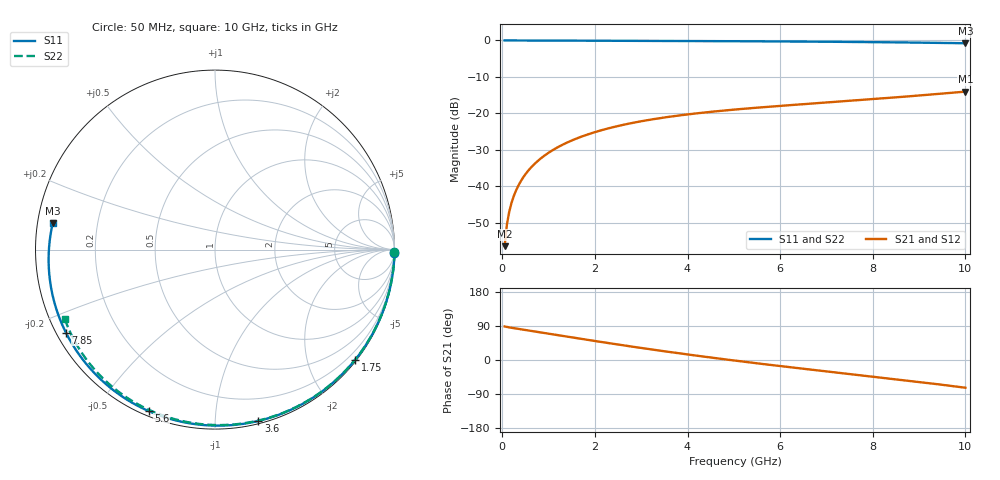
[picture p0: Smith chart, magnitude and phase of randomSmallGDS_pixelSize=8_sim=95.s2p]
! freq	dB(S11)	phase(S11)	dB(S12)	phase(S12)
!  dB(S21)	phase(S21)	dB(S22)	phase(S22)
!S-par simulation data
#  GHz  S  DB  R 50
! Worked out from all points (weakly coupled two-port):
!   200 points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, 50 MHz to 10 GHz, reference 50 ohm
!   highest |S21| = -14.02 dB at 10 GHz (marker M1); lowest = -56.4 dB at 50 MHz (marker M2)
!   lowest |S11| = -0.8 dB at 10 GHz (marker M3), VSWR 22.75, Z = 2.21 + j4.05 ohm
!   |S11| at or under -10 dB: nowhere
!   |S22| runs from -0.7 to 0.0 dB; largest |S21 - S12| = 0
!   S11 on the Smith chart (normalised r, x): 50 MHz: open; 1.75 GHz: 0.03, -2.88; 3.6 GHz: 0.02, -1.29; 5.6 GHz: 0.02, -0.67; 7.85 GHz: 0.03, -0.26; 10 GHz: 0.04, +0.08
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0.05  -0.00 -1.1  -56.41 88.5  -56.41 88.5  -0.00 -0.9
0.1  -0.00 -2.2  -50.43 87.2  -50.43 87.2  -0.00 -1.8
0.15  -0.00 -3.4  -46.96 86.0  -46.96 86.0  -0.00 -2.8
0.2  -0.00 -4.5  -44.50 85.0  -44.50 85.0  -0.00 -3.7
0.25  -0.00 -5.6  -42.60 84.0  -42.60 84.0  -0.00 -4.6
0.35  -0.01 -7.8  -39.73 82.1  -39.73 82.1  -0.01 -6.4
0.5  -0.01 -11.1  -36.68 79.2  -36.68 79.2  -0.01 -9.2
0.7  -0.02 -15.6  -33.80 75.3  -33.80 75.3  -0.02 -12.8
1  -0.03 -22.1  -30.78 69.5  -30.78 69.5  -0.03 -18.3
1.35  -0.04 -29.7  -28.29 62.6  -28.29 62.6  -0.04 -24.5
1.75  -0.06 -38.3  -26.19 54.9  -26.19 54.9  -0.05 -31.6
2.6  -0.09 -55.9  -23.17 39.0  -23.17 39.0  -0.08 -46.4
3.4  -0.12 -71.9  -21.31 24.8  -21.31 24.8  -0.11 -59.8
3.6  -0.13 -75.8  -20.94 21.3  -20.94 21.3  -0.12 -63.1
4.3  -0.17 -89.0  -19.84 9.8  -19.84 9.8  -0.15 -74.3
5.05  -0.21 -102.7  -18.91 -2.0  -18.91 -2.0  -0.18 -85.8
5.6  -0.24 -112.4  -18.33 -10.2  -18.33 -10.2  -0.21 -94.0
6.7  -0.32 -131.3  -17.29 -25.9  -17.29 -25.9  -0.29 -109.9
7.85  -0.44 -150.9  -16.23 -41.7  -16.23 -41.7  -0.39 -125.9
8.35  -0.50 -159.5  -15.75 -48.7  -15.75 -48.7  -0.45 -132.7
9.2  -0.62 -174.5  -14.89 -60.9  -14.89 -60.9  -0.57 -144.4
10  -0.76 170.7  -14.02 -73.2  -14.02 -73.2  -0.71 -155.4
